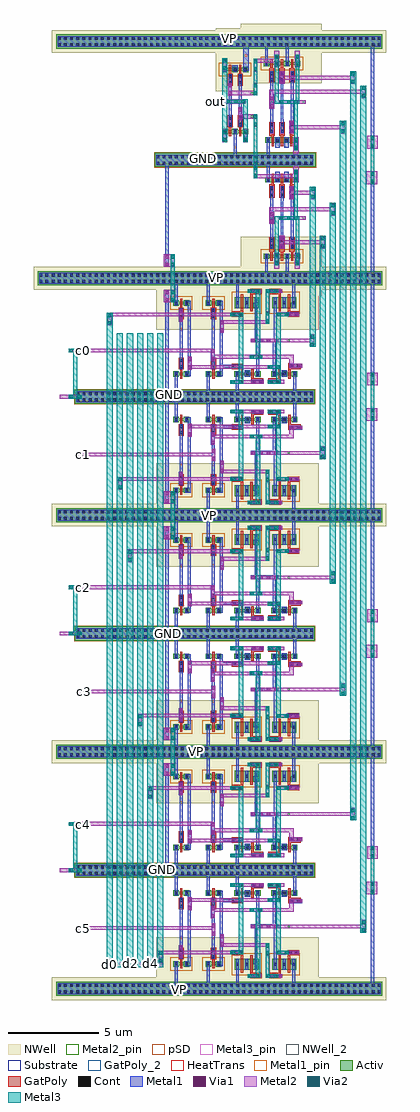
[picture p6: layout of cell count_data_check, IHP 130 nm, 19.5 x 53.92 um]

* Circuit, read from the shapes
.subckt count_data_check GND VP c0 c1 c2 c3 c4 c5 d0 d1 d2 d3 d4 d5 out
XM1 n1 d5 GND GND sg13_lv_nmos w=0.15u l=0.13u
XM2 n2 d4 GND GND sg13_lv_nmos w=0.15u l=0.13u
XM3 n3 d3 GND GND sg13_lv_nmos w=0.15u l=0.13u
XM4 n4 d2 GND GND sg13_lv_nmos w=0.15u l=0.13u
XM5 n5 d1 GND GND sg13_lv_nmos w=0.15u l=0.13u
XM6 n6 d0 GND GND sg13_lv_nmos w=0.15u l=0.13u
XM7 n7 c5 GND GND sg13_lv_nmos w=0.15u l=0.13u
XM8 n8 c4 GND GND sg13_lv_nmos w=0.15u l=0.13u
XM9 n9 c3 GND GND sg13_lv_nmos w=0.15u l=0.13u
XM10 n10 c2 GND GND sg13_lv_nmos w=0.15u l=0.13u
XM11 n11 c1 GND GND sg13_lv_nmos w=0.15u l=0.13u
XM12 n12 c0 GND GND sg13_lv_nmos w=0.15u l=0.13u
XM13 GND NOR_2in_72/B out GND sg13_lv_nmos w=0.15u l=0.13u
XM14 out NOR_2in_72/A GND GND sg13_lv_nmos w=0.15u l=0.13u
XM15 n13 n7 GND GND sg13_lv_nmos w=0.15u l=0.13u
XM16 n14 n8 GND GND sg13_lv_nmos w=0.15u l=0.13u
XM17 n15 n9 GND GND sg13_lv_nmos w=0.15u l=0.13u
XM18 n16 n10 GND GND sg13_lv_nmos w=0.15u l=0.13u
XM19 n17 n11 GND GND sg13_lv_nmos w=0.15u l=0.13u
XM20 n18 n12 GND GND sg13_lv_nmos w=0.15u l=0.13u
XM21 XNOR_9/y d5 n13 GND sg13_lv_nmos w=0.15u l=0.13u
XM22 XNOR_27/y d4 n14 GND sg13_lv_nmos w=0.15u l=0.13u
XM23 XNOR_7/y d3 n15 GND sg13_lv_nmos w=0.15u l=0.13u
XM24 XNOR_8/y d2 n16 GND sg13_lv_nmos w=0.15u l=0.13u
XM25 XNOR_24/y d1 n17 GND sg13_lv_nmos w=0.15u l=0.13u
XM26 XNOR_25/y d0 n18 GND sg13_lv_nmos w=0.15u l=0.13u
XM27 n19 XNOR_8/y GND GND sg13_lv_nmos w=0.3u l=0.13u
XM28 n20 XNOR_9/y GND GND sg13_lv_nmos w=0.3u l=0.13u
XM29 n21 n1 XNOR_9/y GND sg13_lv_nmos w=0.15u l=0.13u
XM30 n22 n2 XNOR_27/y GND sg13_lv_nmos w=0.15u l=0.13u
XM31 n23 n3 XNOR_7/y GND sg13_lv_nmos w=0.15u l=0.13u
XM32 n24 n4 XNOR_8/y GND sg13_lv_nmos w=0.15u l=0.13u
XM33 n25 n5 XNOR_24/y GND sg13_lv_nmos w=0.15u l=0.13u
XM34 n26 n6 XNOR_25/y GND sg13_lv_nmos w=0.15u l=0.13u
XM35 n27 XNOR_24/y n19 GND sg13_lv_nmos w=0.3u l=0.13u
XM36 n28 XNOR_27/y n20 GND sg13_lv_nmos w=0.3u l=0.13u
XM37 GND c5 n21 GND sg13_lv_nmos w=0.15u l=0.13u
XM38 GND c4 n22 GND sg13_lv_nmos w=0.15u l=0.13u
XM39 GND c3 n23 GND sg13_lv_nmos w=0.15u l=0.13u
XM40 GND c2 n24 GND sg13_lv_nmos w=0.15u l=0.13u
XM41 GND c1 n25 GND sg13_lv_nmos w=0.15u l=0.13u
XM42 GND c0 n26 GND sg13_lv_nmos w=0.15u l=0.13u
XM43 NOR_2in_72/A XNOR_25/y n27 GND sg13_lv_nmos w=0.3u l=0.13u
XM44 NOR_2in_72/B XNOR_7/y n28 GND sg13_lv_nmos w=0.3u l=0.13u
XM45 n1 d5 VP VP sg13_lv_pmos w=0.15u l=0.13u
XM46 n2 d4 VP VP sg13_lv_pmos w=0.15u l=0.13u
XM47 n3 d3 VP VP sg13_lv_pmos w=0.15u l=0.13u
XM48 n4 d2 VP VP sg13_lv_pmos w=0.15u l=0.13u
XM49 n5 d1 VP VP sg13_lv_pmos w=0.15u l=0.13u
XM50 n6 d0 VP VP sg13_lv_pmos w=0.15u l=0.13u
XM51 n7 c5 VP VP sg13_lv_pmos w=0.15u l=0.13u
XM52 n8 c4 VP VP sg13_lv_pmos w=0.15u l=0.13u
XM53 n9 c3 VP VP sg13_lv_pmos w=0.15u l=0.13u
XM54 n10 c2 VP VP sg13_lv_pmos w=0.15u l=0.13u
XM55 n11 c1 VP VP sg13_lv_pmos w=0.15u l=0.13u
XM56 n12 c0 VP VP sg13_lv_pmos w=0.15u l=0.13u
XM57 n29 NOR_2in_72/B out VP sg13_lv_pmos w=0.15u l=0.13u
XM58 VP NOR_2in_72/A n29 VP sg13_lv_pmos w=0.15u l=0.13u
XM59 n30 d5 VP VP sg13_lv_pmos w=0.6u l=0.13u
XM60 n31 d4 VP VP sg13_lv_pmos w=0.6u l=0.13u
XM61 n32 d3 VP VP sg13_lv_pmos w=0.6u l=0.13u
XM62 n33 d2 VP VP sg13_lv_pmos w=0.6u l=0.13u
XM63 n34 d1 VP VP sg13_lv_pmos w=0.6u l=0.13u
XM64 n35 d0 VP VP sg13_lv_pmos w=0.6u l=0.13u
XM65 XNOR_9/y c5 n30 VP sg13_lv_pmos w=0.6u l=0.13u
XM66 XNOR_27/y c4 n31 VP sg13_lv_pmos w=0.6u l=0.13u
XM67 XNOR_7/y c3 n32 VP sg13_lv_pmos w=0.6u l=0.13u
XM68 XNOR_8/y c2 n33 VP sg13_lv_pmos w=0.6u l=0.13u
XM69 XNOR_24/y c1 n34 VP sg13_lv_pmos w=0.6u l=0.13u
XM70 XNOR_25/y c0 n35 VP sg13_lv_pmos w=0.6u l=0.13u
XM71 NOR_2in_72/A XNOR_8/y VP VP sg13_lv_pmos w=0.15u l=0.13u
XM72 NOR_2in_72/B XNOR_9/y VP VP sg13_lv_pmos w=0.15u l=0.13u
XM73 n36 n7 XNOR_9/y VP sg13_lv_pmos w=0.6u l=0.13u
XM74 n37 n8 XNOR_27/y VP sg13_lv_pmos w=0.6u l=0.13u
XM75 n38 n9 XNOR_7/y VP sg13_lv_pmos w=0.6u l=0.13u
XM76 n39 n10 XNOR_8/y VP sg13_lv_pmos w=0.6u l=0.13u
XM77 n40 n11 XNOR_24/y VP sg13_lv_pmos w=0.6u l=0.13u
XM78 n41 n12 XNOR_25/y VP sg13_lv_pmos w=0.6u l=0.13u
XM79 VP XNOR_24/y NOR_2in_72/A VP sg13_lv_pmos w=0.15u l=0.13u
XM80 VP XNOR_27/y NOR_2in_72/B VP sg13_lv_pmos w=0.15u l=0.13u
XM81 VP n1 n36 VP sg13_lv_pmos w=0.6u l=0.13u
XM82 VP n2 n37 VP sg13_lv_pmos w=0.6u l=0.13u
XM83 VP n3 n38 VP sg13_lv_pmos w=0.6u l=0.13u
XM84 VP n4 n39 VP sg13_lv_pmos w=0.6u l=0.13u
XM85 VP n5 n40 VP sg13_lv_pmos w=0.6u l=0.13u
XM86 VP n6 n41 VP sg13_lv_pmos w=0.6u l=0.13u
XM87 NOR_2in_72/A XNOR_25/y VP VP sg13_lv_pmos w=0.15u l=0.13u
XM88 NOR_2in_72/B XNOR_7/y VP VP sg13_lv_pmos w=0.15u l=0.13u
.ends

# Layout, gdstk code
from math import pi, radians
import gdstk
lib = gdstk.Library(unit=1e-6, precision=1e-09)
def R(c, l, rs):  # rectangles x0, y0, x1, y1
    for r in rs: c.add(gdstk.rectangle(r[:2], r[2:], *l))
def A(c, l, x, y, w, h, nx, ny, dx, dy):  # array of equal rectangles
    R(c, l, [(x+i*dx, y+j*dy, x+i*dx+w, y+j*dy+h) for i in range(nx) for j in range(ny)])
def P(c, l, *ps):  # polygons
    for p in ps: c.add(gdstk.Polygon(p, *l))
Activ = (1, 0)
GatPoly = (5, 0)
GatPoly_2 = (5, 2)
Cont = (6, 0)
Metal1 = (8, 0)
Metal1_pin = (8, 2)
Metal2 = (10, 0)
Metal2_pin = (10, 2)
pSD = (14, 0)
Via1 = (19, 0)
Via2 = (29, 0)
Metal3 = (30, 0)
Metal3_pin = (30, 2)
NWell = (31, 0)
NWell_2 = (31, 2)
Substrate = (40, 0)
HeatTrans = (51, 0)

via_4_7_1 = lib.new_cell('Via$4$7$1')
R(via_4_7_1, Metal1, [(-0.105,-0.35,0.105,0.35)])
R(via_4_7_1, Metal2, [(-0.1,-0.35,0.1,0.35)])
R(via_4_7_1, Via1, [(-0.095,-0.3,0.095,-0.11), (-0.095,0.11,0.095,0.3)])

via_7_5_1 = lib.new_cell('Via$7$5$1')
R(via_7_5_1, Metal2, [(-0.1,-0.555,0.1,0.555)])
A(via_7_5_1, Via2, -0.095, -0.505, 0.19, 0.19, 1, 3, 0, 0.41)
R(via_7_5_1, Metal3, [(-0.1,-0.555,0.1,0.555)])

nmos_4_3_1 = lib.new_cell('nmos$4$3$1')
A(nmos_4_3_1, Activ, 0, 0, 0.3, 0.3, 4, 1, 0.51, 0)
R(nmos_4_3_1, Activ, [(0,0,1.83,0.3)])
A(nmos_4_3_1, GatPoly, 0.34, -0.18, 0.13, 0.66, 3, 1, 0.51, 0)
R(nmos_4_3_1, GatPoly_2, [(0.34,-0.18,0.47,0.48)])
A(nmos_4_3_1, Cont, 0.07, 0.07, 0.16, 0.16, 4, 1, 0.51, 0)
A(nmos_4_3_1, Metal1, 0.07, 0, 0.16, 0.3, 4, 1, 0.51, 0)
R(nmos_4_3_1, Metal1_pin, [(0.07,0,0.23,0.3), (0.58,0,0.74,0.3)])
A(nmos_4_3_1, HeatTrans, 0.34, -0.18, 0.13, 0.66, 3, 1, 0.51, 0)
nmos_4_3_1.add(gdstk.Label('nmos', (0.405,0.15), layer=63, texttype=0))
nmos_4_3_1.add(gdstk.Label('nmos', (0.405,0.15), layer=51, texttype=0))
nmos_4_3_1.add(gdstk.Label('nmos', (0.915,0.15), layer=51, texttype=0))
nmos_4_3_1.add(gdstk.Label('nmos', (1.425,0.15), layer=51, texttype=0))

ntap1_1_1_1 = lib.new_cell('ntap1$1$1$1')
R(ntap1_1_1_1, Activ, [(0,0,3.5,0.78)])
A(ntap1_1_1_1, Cont, 0.14, 0.14, 0.16, 0.16, 10, 2, 0.34, 0.34)
R(ntap1_1_1_1, Metal1, [(0.14,0.09,3.36,0.69)])
R(ntap1_1_1_1, Metal1_pin, [(0.14,0.09,3.36,0.69), (0.14,0.14,3.36,0.64)])
R(ntap1_1_1_1, NWell, [(-0.24,-0.24,3.74,1.02), (0,0,3.5,0.78)])
R(ntap1_1_1_1, NWell_2, [(0,0,3.5,0.78)])
ntap1_1_1_1.add(gdstk.Label('well', (1.75,0.01), layer=63, texttype=0))
ntap1_1_1_1.add(gdstk.Label('well', (1.75,0.01), layer=31, texttype=0))

ptap1_3_5_1 = lib.new_cell('ptap1$3$5$1')
R(ptap1_3_5_1, Activ, [(0,0,3.5,0.78)])
A(ptap1_3_5_1, Cont, 0.14, 0.14, 0.16, 0.16, 10, 2, 0.34, 0.34)
R(ptap1_3_5_1, Metal1, [(0.14,0.09,3.36,0.69), (0.14,0.14,3.36,0.64)])
R(ptap1_3_5_1, Metal1_pin, [(0.14,0.14,3.36,0.64)])
R(ptap1_3_5_1, pSD, [(-0.03,-0.03,3.53,0.81)])
R(ptap1_3_5_1, Substrate, [(0,0,3.5,0.78)])
ptap1_3_5_1.add(gdstk.Label('sub!', (1.75,0.01), layer=63, texttype=0))
ptap1_3_5_1.add(gdstk.Label('sub!', (1.75,0.01), layer=40, texttype=0))

via_5_7_1 = lib.new_cell('Via$5$7$1')
R(via_5_7_1, Metal2, [(-0.1,-0.35,0.1,0.35)])
R(via_5_7_1, Via2, [(-0.095,-0.3,0.095,-0.11), (-0.095,0.11,0.095,0.3)])
R(via_5_7_1, Metal3, [(-0.1,-0.35,0.1,0.35)])

via_6_5_1 = lib.new_cell('Via$6$5$1')
R(via_6_5_1, GatPoly, [(-0.32,-0.15,0.32,0.15)])
R(via_6_5_1, Cont, [(-0.25,-0.08,-0.09,0.08), (0.09,-0.08,0.25,0.08)])
R(via_6_5_1, Metal1, [(-0.3,-0.08,0.3,0.08)])

pmos_1_5_1 = lib.new_cell('pmos$1$5$1')
A(pmos_1_5_1, Activ, 0, 0, 0.3, 0.3, 4, 1, 0.57, 0)
R(pmos_1_5_1, Activ, [(0,0.075,2.01,0.225)])
A(pmos_1_5_1, GatPoly, 0.37, -0.105, 0.13, 0.51, 3, 1, 0.57, 0)
A(pmos_1_5_1, Cont, 0.07, 0.07, 0.16, 0.16, 4, 1, 0.57, 0)
A(pmos_1_5_1, Metal1, 0.07, 0.02, 0.16, 0.26, 4, 1, 0.57, 0)
R(pmos_1_5_1, pSD, [(-0.18,-0.225,2.19,0.525)])
R(pmos_1_5_1, NWell, [(-0.31,-0.31,2.32,0.61)])
R(pmos_1_5_1, Substrate, [(1.71,0,2.01,0.3)])
A(pmos_1_5_1, HeatTrans, 0.37, -0.105, 0.13, 0.51, 3, 1, 0.57, 0)
pmos_1_5_1.add(gdstk.Label('pmos', (0.435,0.15), layer=63, texttype=0))
pmos_1_5_1.add(gdstk.Label('pmos', (0.435,0.15), layer=51, texttype=0))
pmos_1_5_1.add(gdstk.Label('pmos', (1.005,0.15), layer=51, texttype=0))
pmos_1_5_1.add(gdstk.Label('pmos', (1.575,0.15), layer=51, texttype=0))

nand_3in_nmosx3_5_1 = lib.new_cell('NAND_3in_nmosx3$5$1')
R(nand_3in_nmosx3_5_1, GatPoly, [(0.115,-3.025,0.245,-2.915), (0.685,-3.025,0.815,-2.915), (0.035,-3.005,0.335,-2.895), (0.605,-3.005,0.905,-2.895), (1.165,-3.005,1.465,-2.895), (0.03,0.58,0.33,0.73), (0.6,0.58,0.9,0.73), (1.16,0.58,1.46,0.73), (0.68,0.68,0.81,0.77), (1.25,0.68,1.38,0.77)])
R(nand_3in_nmosx3_5_1, Metal1, [(-0.095,-4.15,0.065,-3.37), (0.375,-3.675,0.615,-3.415), (0.885,-3.675,1.125,-3.415), (0.375,-3.435,0.615,-3.095), (0.885,-3.435,1.125,-3.095), (0.67,-2.44,0.835,-2.09), (0.1,-2.42,0.265,-1.91), (0.67,-2.21,0.83,-1.27), (1.23,-2.21,1.39,-1.27), (0.1,-1.91,0.26,-0.56), (0.67,-1.31,0.83,-0.37), (1.23,-1.31,1.39,-0.37), (0.1,-0.62,0.26,-0.04), (1.23,-0.53,1.39,0), (0.67,-0.37,0.83,-0.11), (0.95,1,1.11,1.2), (-0.19,1.01,-0.03,1.15), (-0.19,1.115,-0.03,1.99), (0.95,1.115,1.11,1.94)])
R(nand_3in_nmosx3_5_1, Metal1_pin, [(0.44,-4.405,0.57,-4.275), (0.74,2.15,0.87,2.28)])
R(nand_3in_nmosx3_5_1, Metal2, [(1.375,-3.995,1.665,-3.795), (1.375,-3.795,1.665,-3.095), (1.155,-2.875,1.455,-2.175), (0.03,-1.51,0.33,-0.81), (1.62,-1.24,2.05,-1.04), (0.59,-0.14,0.89,0.56), (0.31,0.78,0.6,0.98), (1.45,0.78,1.74,0.98), (0.31,0.98,0.6,1.68), (1.45,0.98,1.74,1.68)])
R(nand_3in_nmosx3_5_1, Metal2_pin, [(1.255,-2.385,1.385,-2.255), (0.11,-1.215,0.24,-1.085), (1.905,-1.205,2.035,-1.075), (0.69,-0.07,0.82,0.06)])
R(nand_3in_nmosx3_5_1, Metal3, [(1.425,-3.105,1.625,-2.905), (1.425,-2.905,1.625,-2.5), (1.425,-2.5,1.625,-1.15), (0.36,-1.24,0.56,-0.97), (0.38,-1.24,0.565,-1.04), (1.66,-1.24,1.7,-1.09), (1.5,-1.09,1.7,0.17), (0.36,-0.97,0.56,0.26), (1.5,-0.03,1.7,0.62), (0.36,0.08,0.56,0.78), (1.5,0.62,1.7,0.72), (1.5,0.71,1.7,0.87)])
R(nand_3in_nmosx3_5_1, NWell, [(-1.52,-0.1,-0.85,3.17), (-0.85,-0.1,2.93,3.17)])
nand_3in_nmosx3_5_1.add(gdstk.Reference(via_4_7_1, (1.525,-3.445), rotation=pi))
nand_3in_nmosx3_5_1.add(gdstk.Reference(via_4_7_1, (1.315,-2.525), rotation=pi))
nand_3in_nmosx3_5_1.add(gdstk.Reference(via_4_7_1, (0.18,-1.16), rotation=pi))
nand_3in_nmosx3_5_1.add(gdstk.Reference(via_4_7_1, (0.75,0.21), rotation=pi))
nand_3in_nmosx3_5_1.add(gdstk.Reference(via_4_7_1, (0.46,1.13), rotation=pi))
nand_3in_nmosx3_5_1.add(gdstk.Reference(via_4_7_1, (1.6,1.13), rotation=pi))
nand_3in_nmosx3_5_1.add(gdstk.Reference(via_7_5_1, (1.12,-1.14), rotation=3*pi/2))
nand_3in_nmosx3_5_1.add(gdstk.Reference(nmos_4_3_1, (1.665,-3.095), rotation=pi))
nand_3in_nmosx3_5_1.add(gdstk.Reference(ntap1_1_1_1, (-0.9,1.81)))
nand_3in_nmosx3_5_1.add(gdstk.Reference(ptap1_3_5_1, (-0.89,-4.73)))
nand_3in_nmosx3_5_1.add(gdstk.Reference(via_5_7_1, (1.525,-3.445), rotation=pi))
nand_3in_nmosx3_5_1.add(gdstk.Reference(via_5_7_1, (0.46,1.13), rotation=pi))
nand_3in_nmosx3_5_1.add(gdstk.Reference(via_5_7_1, (1.6,1.13), rotation=pi))
nand_3in_nmosx3_5_1.add(gdstk.Reference(via_6_5_1, (0.185,-2.575), rotation=3*pi/2))
nand_3in_nmosx3_5_1.add(gdstk.Reference(via_6_5_1, (0.755,-2.575), rotation=3*pi/2))
nand_3in_nmosx3_5_1.add(gdstk.Reference(via_6_5_1, (1.315,-2.575), rotation=3*pi/2))
nand_3in_nmosx3_5_1.add(gdstk.Reference(via_6_5_1, (0.18,0.26), rotation=3*pi/2))
nand_3in_nmosx3_5_1.add(gdstk.Reference(via_6_5_1, (0.75,0.26), rotation=3*pi/2))
nand_3in_nmosx3_5_1.add(gdstk.Reference(via_6_5_1, (1.31,0.26), rotation=3*pi/2))
nand_3in_nmosx3_5_1.add(gdstk.Reference(pmos_1_5_1, (1.75,1.13), rotation=pi))
nand_3in_nmosx3_5_1.add(gdstk.Label('VP', (0.8,2.21), layer=8, texttype=25))
nand_3in_nmosx3_5_1.add(gdstk.Label('GND', (0.505,-4.335), layer=8, texttype=25))
nand_3in_nmosx3_5_1.add(gdstk.Label('y', (1.97,-1.14), layer=10, texttype=25))
nand_3in_nmosx3_5_1.add(gdstk.Label('b', (0.76,0.02), layer=10, texttype=25))
nand_3in_nmosx3_5_1.add(gdstk.Label('c', (0.17,-1.15), layer=10, texttype=25))
nand_3in_nmosx3_5_1.add(gdstk.Label('a', (1.315,-2.325), layer=10, texttype=25))

nand_3in_1 = lib.new_cell('NAND_3in$1')
nand_3in_1.add(gdstk.Reference(nand_3in_nmosx3_5_1, (0.25,42.24)))

ntap1_12 = lib.new_cell('ntap1$12')
R(ntap1_12, Activ, [(0,0,7.8,0.78)])
A(ntap1_12, Cont, 0.08, 0.14, 0.16, 0.16, 23, 2, 0.34, 0.34)
R(ntap1_12, Metal1, [(0.08,0.09,7.72,0.69)])
R(ntap1_12, Metal1_pin, [(0.08,0.09,7.72,0.69), (0.08,0.14,7.72,0.64)])
R(ntap1_12, NWell, [(-0.24,-0.24,8.04,1.02), (0,0,7.8,0.78)])
R(ntap1_12, NWell_2, [(0,0,7.8,0.78)])
ntap1_12.add(gdstk.Label('well', (3.9,0.01), layer=63, texttype=0))
ntap1_12.add(gdstk.Label('well', (3.9,0.01), layer=31, texttype=0))

via_17 = lib.new_cell('Via$17')
R(via_17, Metal2, [(-0.35,-0.1,0.35,0.1)])
R(via_17, Via2, [(-0.3,-0.095,-0.11,0.095), (0.11,-0.095,0.3,0.095)])
R(via_17, Metal3, [(-0.35,-0.1,0.35,0.1)])

pmos_5 = lib.new_cell('pmos$5')
R(pmos_5, Activ, [(0,0,0.3,0.3), (0.57,0,0.87,0.3), (0,0.075,0.87,0.225)])
R(pmos_5, GatPoly, [(0.37,-0.105,0.5,0.405), (0.37,-0.105,0.5,0.405)])
R(pmos_5, Cont, [(0.07,0.07,0.23,0.23), (0.64,0.07,0.8,0.23)])
R(pmos_5, Metal1, [(0.07,0.02,0.23,0.28), (0.07,0.02,0.23,0.28), (0.64,0.02,0.8,0.28), (0.64,0.02,0.8,0.28)])
R(pmos_5, pSD, [(-0.18,-0.225,1.05,0.525)])
R(pmos_5, NWell, [(-0.31,-0.31,1.18,0.61)])
R(pmos_5, Substrate, [(0.57,0,0.87,0.3)])
R(pmos_5, HeatTrans, [(0.37,-0.105,0.5,0.405)])
pmos_5.add(gdstk.Label('pmos', (0.435,0.15), layer=63, texttype=0))
pmos_5.add(gdstk.Label('pmos', (0.435,0.15), layer=51, texttype=0))

pmos_3_3 = lib.new_cell('pmos$3$3')
A(pmos_3_3, Activ, 0, 0, 0.3, 0.3, 3, 1, 0.51, 0)
R(pmos_3_3, Activ, [(0,0,1.32,0.6)])
R(pmos_3_3, GatPoly, [(0.34,-0.18,0.47,0.78), (0.34,-0.18,0.47,0.78), (0.85,-0.18,0.98,0.78)])
A(pmos_3_3, Cont, 0.07, 0.22, 0.16, 0.16, 3, 1, 0.51, 0)
R(pmos_3_3, Metal1, [(0.07,0,0.23,0.6), (0.07,0,0.23,0.6), (0.58,0,0.74,0.6), (0.58,0,0.74,0.6), (1.09,0,1.25,0.6)])
R(pmos_3_3, pSD, [(-0.18,-0.3,1.5,0.9)])
R(pmos_3_3, NWell, [(-0.31,-0.31,1.63,0.91)])
R(pmos_3_3, Substrate, [(1.02,0,1.32,0.3)])
R(pmos_3_3, HeatTrans, [(0.34,-0.18,0.47,0.78), (0.85,-0.18,0.98,0.78)])
pmos_3_3.add(gdstk.Label('pmos', (0.405,0.3), layer=63, texttype=0))
pmos_3_3.add(gdstk.Label('pmos', (0.405,0.3), layer=51, texttype=0))
pmos_3_3.add(gdstk.Label('pmos', (0.915,0.3), layer=51, texttype=0))

nmos_9 = lib.new_cell('nmos$9')
R(nmos_9, Activ, [(0,0,0.3,0.3), (0.57,0,0.87,0.3), (0,0.075,0.87,0.225)])
R(nmos_9, GatPoly, [(0.37,-0.105,0.5,0.405)])
R(nmos_9, GatPoly_2, [(0.37,-0.105,0.5,0.405)])
R(nmos_9, Cont, [(0.07,0.07,0.23,0.23), (0.64,0.07,0.8,0.23)])
R(nmos_9, Metal1, [(0.07,0.02,0.23,0.28), (0.64,0.02,0.8,0.28)])
R(nmos_9, Metal1_pin, [(0.07,0.02,0.23,0.28), (0.64,0.02,0.8,0.28)])
R(nmos_9, HeatTrans, [(0.37,-0.105,0.5,0.405)])
nmos_9.add(gdstk.Label('nmos', (0.435,0.15), layer=63, texttype=0))
nmos_9.add(gdstk.Label('nmos', (0.435,0.15), layer=51, texttype=0))

nmos_5 = lib.new_cell('nmos$5')
A(nmos_5, Activ, 0, 0, 0.3, 0.3, 3, 1, 0.57, 0)
R(nmos_5, Activ, [(0,0.075,1.44,0.225)])
R(nmos_5, GatPoly, [(0.37,-0.105,0.5,0.405), (0.94,-0.105,1.07,0.405)])
R(nmos_5, GatPoly_2, [(0.37,-0.105,0.5,0.405)])
A(nmos_5, Cont, 0.07, 0.07, 0.16, 0.16, 3, 1, 0.57, 0)
A(nmos_5, Metal1, 0.07, 0.02, 0.16, 0.26, 3, 1, 0.57, 0)
R(nmos_5, Metal1_pin, [(0.07,0.02,0.23,0.28), (0.64,0.02,0.8,0.28)])
R(nmos_5, HeatTrans, [(0.37,-0.105,0.5,0.405), (0.94,-0.105,1.07,0.405)])
nmos_5.add(gdstk.Label('nmos', (0.435,0.15), layer=63, texttype=0))
nmos_5.add(gdstk.Label('nmos', (0.435,0.15), layer=51, texttype=0))
nmos_5.add(gdstk.Label('nmos', (1.005,0.15), layer=51, texttype=0))

via_6_2 = lib.new_cell('Via$6$2')
R(via_6_2, GatPoly, [(-0.15,-0.32,0.15,0.32)])
R(via_6_2, Cont, [(-0.08,-0.25,0.08,-0.09), (-0.08,0.09,0.08,0.25)])
R(via_6_2, Metal1, [(-0.08,-0.3,0.08,0.3)])

via_7 = lib.new_cell('Via$7')
R(via_7, Metal1, [(-0.76,-0.105,0.76,0.105)])
R(via_7, Metal2, [(-0.76,-0.1,0.76,0.1)])
A(via_7, Via1, -0.71, -0.095, 0.19, 0.19, 4, 1, 0.41, 0)

via_9_3 = lib.new_cell('Via$9$3')
R(via_9_3, Metal1, [(-0.35,-0.105,0.35,0.105)])
R(via_9_3, Metal2, [(-0.35,-0.1,0.35,0.1)])
R(via_9_3, Via1, [(-0.3,-0.095,-0.11,0.095), (0.11,-0.095,0.3,0.095)])

via_18 = lib.new_cell('Via$18')
R(via_18, Metal2, [(-0.35,-0.1,0.35,0.1)])
R(via_18, Via2, [(-0.3,-0.095,-0.11,0.095), (0.11,-0.095,0.3,0.095)])
R(via_18, Metal3, [(-0.35,-0.1,0.35,0.1)])

ptap1_1 = lib.new_cell('ptap1$1')
R(ptap1_1, Activ, [(0,0,8.5,0.78)])
A(ptap1_1, Cont, 0.09, 0.14, 0.16, 0.16, 25, 2, 0.34, 0.34)
R(ptap1_1, Metal1, [(0.09,0.09,8.41,0.69), (0.09,0.14,8.41,0.64)])
R(ptap1_1, Metal1_pin, [(0.09,0.14,8.41,0.64)])
R(ptap1_1, pSD, [(-0.03,-0.03,8.53,0.81)])
R(ptap1_1, Substrate, [(0,0,8.5,0.78)])
ptap1_1.add(gdstk.Label('sub!', (4.25,0.01), layer=63, texttype=0))
ptap1_1.add(gdstk.Label('sub!', (4.25,0.01), layer=40, texttype=0))

ntap1_2_3 = lib.new_cell('ntap1$2$3')
R(ntap1_2_3, Activ, [(0,0,8.5,0.78)])
A(ntap1_2_3, Cont, 0.09, 0.14, 0.16, 0.16, 25, 2, 0.34, 0.34)
R(ntap1_2_3, Metal1, [(0.09,0.09,8.41,0.69)])
R(ntap1_2_3, Metal1_pin, [(0.09,0.09,8.41,0.69), (0.09,0.14,8.41,0.64)])
R(ntap1_2_3, NWell, [(-0.24,-0.24,8.74,1.02), (0,0,8.5,0.78)])
R(ntap1_2_3, NWell_2, [(0,0,8.5,0.78)])
ntap1_2_3.add(gdstk.Label('well', (4.25,0.01), layer=63, texttype=0))
ntap1_2_3.add(gdstk.Label('well', (4.25,0.01), layer=31, texttype=0))

xnor = lib.new_cell('XNOR')
R(xnor, GatPoly, [(5.14,-5.055,5.24,-4.76), (6.64,-5.055,6.74,-4.76), (7.18,-4.34,7.31,-4.24), (4.57,-4.275,4.7,-4.175), (7.18,-4.25,7.31,-3.935), (4.68,-4.24,4.7,-3.94)])
R(xnor, Metal1, [(2.68,-5.94,2.84,-4.95), (7.45,-5.94,7.61,-4.98), (0.9,-5.86,1.06,-5.03), (4.27,-5.77,4.43,-4.955), (4.27,-5.275,4.43,-4.635), (0.9,-5.155,1.06,-4.575), (2.68,-5.155,2.84,-4.575), (7.45,-5.145,7.61,-4.635), (4.78,-4.665,5.01,-4.615), (5.01,-4.665,5.06,-4.305), (6.82,-4.665,7.05,-4.615), (7.05,-4.665,7.1,-4.305), (1.63,-4.635,1.78,-4.375), (3.41,-4.635,3.56,-4.375), (4.78,-4.615,5.01,-4.355), (6.82,-4.615,7.05,-4.355), (5.41,-4.46,5.57,-4.32), (6.31,-4.44,6.47,-4.25), (1.62,-4.385,1.78,-2.985), (3.4,-4.385,3.56,-2.985), (5.41,-4.375,5.57,-3.715), (6.31,-4.375,6.47,-3.715), (4.78,-4.355,5.01,-4.305), (6.82,-4.355,7.05,-4.305), (3.4,-4.17,4.06,-4.01), (1.18,-3.825,1.34,-2.425), (2.96,-3.825,3.12,-2.425), (5.41,-3.795,5.57,-3.135), (6.31,-3.795,6.47,-3.135), (6.31,-3.725,6.47,-3.065), (5.41,-3.715,5.57,-3.055), (1.62,-3.38,1.78,-1.78), (5.41,-3.3,5.57,-2.67), (3.4,-3.24,3.56,-1.48), (6.31,-3.24,6.47,-2.67), (5.31,-2.775,5.47,-2.09), (6.37,-2.67,6.53,-2.05), (2.96,-2.55,3.12,-1.53), (1.18,-2.51,1.34,-1.5), (5.31,-2.09,5.47,-1.09), (6.37,-2.09,6.53,-1.09), (1.62,-2.04,1.78,-0.64), (3.4,-2.04,3.56,-0.64), (1.62,-1.86,1.78,-0.46), (3.4,-1.86,3.56,-0.46), (1.18,-1.56,1.34,-1.44), (2.96,-1.56,3.12,-1.44), (6.37,-1.33,6.53,-0.87), (5.31,-1.31,5.47,-0.87), (0.9,-0.57,1.06,-0.38), (2.68,-0.55,2.84,-0.38), (0.9,-0.46,1.06,0.39), (2.68,-0.46,2.84,0.39), (4.29,-0.37,4.45,-0.25), (7.39,-0.37,7.55,-0.23), (4.29,-0.27,4.45,0.49), (7.39,-0.27,7.55,0.51), (2.68,0.27,2.84,0.79), (0.9,0.39,1.06,0.75)])
P(xnor, Metal1, [(0.9,-0.4),(0.9,-0.4),(0.9,-0.4),(0.9,-0.4)])
R(xnor, Metal1_pin, [(4.265,-5.825,4.395,-5.695), (1.195,-2.1,1.325,-1.97), (2.975,-2.08,3.105,-1.95), (4.205,0.695,4.335,0.825)])
R(xnor, Metal2, [(4.68,-5.05,5.4,-4.85), (6.05,-5.045,6.81,-4.845), (6.64,-5.045,6.96,-4.845), (1.64,-4.225,4.15,-4.025), (3.97,-4.225,6.48,-4.025), (7.24,-4.05,7.48,-3.95), (7.24,-3.955,7.48,-3.485), (2.91,-3.665,5.42,-3.465), (4.97,-3.665,7.48,-3.465), (6.32,-2.77,7.32,-2.57), (3.59,-1.74,6.1,-1.54), (1.23,-1.33,3.74,-1.13), (1.48,-1.33,3.99,-1.13), (6.605,-1.31,7.07,-1.11)])
R(xnor, Metal2_pin, [(7.135,-2.735,7.265,-2.605)])
R(xnor, Metal3, [(6.51,-5.04,6.75,-3.035), (4.44,-4.905,4.68,-2.225), (6.51,-4.22,6.75,-2.215), (5.39,-3.635,5.63,-0.955), (6.51,-2.31,6.75,-1.22), (4.44,-2.225,4.68,-1.33), (5.93,-1.11,6.13,-1.01), (5.93,-1.03,6.13,0.16), (5.39,-0.955,5.63,0.07)])
R(xnor, NWell, [(-0.11,-2.08,8.87,0.37), (0.18,-1.74,8.17,0.76)])
xnor.add(gdstk.Reference(pmos_5, (2.61,-0.75)))
xnor.add(gdstk.Reference(pmos_3_3, (6.3,-0.88)))
xnor.add(gdstk.Reference(nmos_9, (2.61,-4.66)))
xnor.add(gdstk.Reference(nmos_5, (4.2,-4.66)))
xnor.add(gdstk.Reference(nmos_5, (6.24,-4.66)))
xnor.add(gdstk.Reference(pmos_5, (0.83,-0.75)))
xnor.add(gdstk.Reference(pmos_3_3, (4.22,-0.88)))
xnor.add(gdstk.Reference(nmos_9, (0.83,-4.66)))
xnor.add(gdstk.Reference(via_6_2, (1.26,-3.94)))
xnor.add(gdstk.Reference(via_6_2, (1.26,-1.17)))
xnor.add(gdstk.Reference(via_6_2, (7.47,-1.21), rotation=pi/2))
xnor.add(gdstk.Reference(via_6_2, (5.39,0.05), rotation=pi/2))
xnor.add(gdstk.Reference(via_6_2, (6.45,0.05), rotation=pi/2))
xnor.add(gdstk.Reference(via_6_2, (5.48,-4.91), rotation=pi/2))
xnor.add(gdstk.Reference(via_6_2, (7.54,-4.09), rotation=pi/2))
xnor.add(gdstk.Reference(via_6_2, (4.36,-4.09), rotation=pi/2))
xnor.add(gdstk.Reference(via_6_2, (4.37,-1.21), rotation=pi/2))
xnor.add(gdstk.Reference(via_7, (5.87,-2.67)))
xnor.add(gdstk.Reference(via_6_2, (6.4,-4.91), rotation=pi/2))
xnor.add(gdstk.Reference(via_6_2, (3.04,-3.94)))
xnor.add(gdstk.Reference(via_6_2, (3.04,-1.17)))
xnor.add(gdstk.Reference(via_9_3, (1.24,-1.28), rotation=pi/2))
xnor.add(gdstk.Reference(via_9_3, (4.34,-1.23), rotation=pi))
xnor.add(gdstk.Reference(via_18, (4.33,-1.23)))
xnor.add(gdstk.Reference(via_18, (4.33,-4.95)))
xnor.add(gdstk.Reference(via_9_3, (5.48,-4.95)))
xnor.add(gdstk.Reference(via_9_3, (6.4,-4.95)))
xnor.add(gdstk.Reference(via_9_3, (1.73,-3.92), rotation=pi/2))
xnor.add(gdstk.Reference(via_18, (6.4,-4.95)))
xnor.add(gdstk.Reference(via_18, (6.4,-4.13)))
xnor.add(gdstk.Reference(via_9_3, (7.42,-1.22)))
xnor.add(gdstk.Reference(via_9_3, (3.01,-3.46), rotation=pi/2))
xnor.add(gdstk.Reference(via_9_3, (7.59,-4.06)))
xnor.add(gdstk.Reference(via_18, (5.39,-3.57)))
xnor.add(gdstk.Reference(via_18, (5.28,0.07)))
xnor.add(gdstk.Reference(via_18, (6.86,-1.22)))
xnor.add(gdstk.Reference(via_9_3, (3.51,-1.89), rotation=pi/2))
xnor.add(gdstk.Reference(via_18, (6.03,-1.39), rotation=pi/2))
xnor.add(gdstk.Reference(via_9_3, (5.34,0.07)))
xnor.add(gdstk.Reference(via_9_3, (6.5,0.07)))
xnor.add(gdstk.Reference(via_18, (6.28,0.07)))
xnor.add(gdstk.Reference(ptap1_1, (0.14,-6.16)))
xnor.add(gdstk.Reference(ntap1_2_3, (0.13,0.38)))
xnor.add(gdstk.Label('GND', (4.33,-5.76), layer=8, texttype=25))
xnor.add(gdstk.Label('VP', (4.27,0.76), layer=8, texttype=25))
xnor.add(gdstk.Label('a', (1.26,-2.03), layer=8, texttype=25))
xnor.add(gdstk.Label('b', (3.04,-2.01), layer=8, texttype=25))
xnor.add(gdstk.Label('y', (7.2,-2.67), layer=10, texttype=25))

via_16 = lib.new_cell('Via$16')
R(via_16, Metal1, [(-0.35,-0.105,0.35,0.105)])
R(via_16, Metal2, [(-0.35,-0.1,0.35,0.1)])
R(via_16, Via1, [(-0.3,-0.095,-0.11,0.095), (0.11,-0.095,0.3,0.095)])

ptap1_20 = lib.new_cell('ptap1$20')
R(ptap1_20, Activ, [(0,0,7.8,0.78)])
A(ptap1_20, Cont, 0.08, 0.14, 0.16, 0.16, 23, 2, 0.34, 0.34)
R(ptap1_20, Metal1, [(0.08,0.09,7.72,0.69), (0.08,0.14,7.72,0.64)])
R(ptap1_20, Metal1_pin, [(0.08,0.14,7.72,0.64)])
R(ptap1_20, pSD, [(-0.03,-0.03,7.83,0.81)])
R(ptap1_20, Substrate, [(0,0,7.8,0.78)])
ptap1_20.add(gdstk.Label('sub!', (3.9,0.01), layer=63, texttype=0))
ptap1_20.add(gdstk.Label('sub!', (3.9,0.01), layer=40, texttype=0))

via_36 = lib.new_cell('Via$36')
R(via_36, Metal2, [(-0.1,-0.35,0.1,0.35)])
R(via_36, Via2, [(-0.095,-0.3,0.095,-0.11), (-0.095,0.11,0.095,0.3)])
R(via_36, Metal3, [(-0.1,-0.35,0.1,0.35)])

via_22 = lib.new_cell('Via$22')
R(via_22, Metal1, [(-0.105,-0.35,0.105,0.35)])
R(via_22, Metal2, [(-0.1,-0.35,0.1,0.35)])
R(via_22, Via1, [(-0.095,-0.3,0.095,-0.11), (-0.095,0.11,0.095,0.3)])

via_1_8 = lib.new_cell('Via$1$8')
R(via_1_8, GatPoly, [(-0.15,-0.32,0.15,0.32)])
R(via_1_8, Cont, [(-0.08,-0.25,0.08,-0.09), (-0.08,0.09,0.08,0.25)])
R(via_1_8, Metal1, [(-0.08,-0.3,0.08,0.3)])

via_6_3 = lib.new_cell('Via$6$3')
R(via_6_3, Metal1, [(-0.105,-0.35,0.105,0.35)])
R(via_6_3, Metal2, [(-0.1,-0.35,0.1,0.35)])
R(via_6_3, Via1, [(-0.095,-0.3,0.095,-0.11), (-0.095,0.11,0.095,0.3)])

ptap1_22 = lib.new_cell('ptap1$22')
R(ptap1_22, Activ, [(0,0,1.6,0.78)])
A(ptap1_22, Cont, 0.21, 0.14, 0.16, 0.16, 4, 2, 0.34, 0.34)
R(ptap1_22, Metal1, [(0.21,0.09,1.39,0.69), (0.21,0.14,1.39,0.64)])
R(ptap1_22, Metal1_pin, [(0.21,0.14,1.39,0.64)])
R(ptap1_22, pSD, [(-0.03,-0.03,1.63,0.81)])
R(ptap1_22, Substrate, [(0,0,1.6,0.78)])
ptap1_22.add(gdstk.Label('sub!', (0.8,0.01), layer=63, texttype=0))
ptap1_22.add(gdstk.Label('sub!', (0.8,0.01), layer=40, texttype=0))

via_38 = lib.new_cell('Via$38')
R(via_38, Metal2, [(-0.1,-0.35,0.1,0.35)])
R(via_38, Via2, [(-0.095,-0.3,0.095,-0.11), (-0.095,0.11,0.095,0.3)])
R(via_38, Metal3, [(-0.1,-0.35,0.1,0.35)])

nmos_10 = lib.new_cell('nmos$10')
A(nmos_10, Activ, 0, 0, 0.3, 0.3, 3, 1, 0.57, 0)
R(nmos_10, Activ, [(0,0.075,1.44,0.225)])
R(nmos_10, GatPoly, [(0.37,-0.105,0.5,0.405), (0.94,-0.105,1.07,0.405)])
R(nmos_10, GatPoly_2, [(0.37,-0.105,0.5,0.405)])
A(nmos_10, Cont, 0.07, 0.07, 0.16, 0.16, 3, 1, 0.57, 0)
A(nmos_10, Metal1, 0.07, 0.02, 0.16, 0.26, 3, 1, 0.57, 0)
R(nmos_10, Metal1_pin, [(0.07,0.02,0.23,0.28), (0.64,0.02,0.8,0.28)])
R(nmos_10, HeatTrans, [(0.37,-0.105,0.5,0.405), (0.94,-0.105,1.07,0.405)])
nmos_10.add(gdstk.Label('nmos', (0.435,0.15), layer=63, texttype=0))
nmos_10.add(gdstk.Label('nmos', (0.435,0.15), layer=51, texttype=0))
nmos_10.add(gdstk.Label('nmos', (1.005,0.15), layer=51, texttype=0))

via_7_2 = lib.new_cell('Via$7$2')
R(via_7_2, Metal2, [(-0.555,-0.1,0.555,0.1)])
A(via_7_2, Via2, -0.505, -0.095, 0.19, 0.19, 3, 1, 0.41, 0)
R(via_7_2, Metal3, [(-0.555,-0.1,0.555,0.1)])

ntap1_8 = lib.new_cell('ntap1$8')
R(ntap1_8, Activ, [(0,0,1.6,0.78)])
A(ntap1_8, Cont, 0.21, 0.14, 0.16, 0.16, 4, 2, 0.34, 0.34)
R(ntap1_8, Metal1, [(0.21,0.09,1.39,0.69)])
R(ntap1_8, Metal1_pin, [(0.21,0.09,1.39,0.69), (0.21,0.14,1.39,0.64)])
R(ntap1_8, NWell, [(-0.24,-0.24,1.84,1.02), (0,0,1.6,0.78)])
R(ntap1_8, NWell_2, [(0,0,1.6,0.78)])
ntap1_8.add(gdstk.Label('well', (0.8,0.01), layer=63, texttype=0))
ntap1_8.add(gdstk.Label('well', (0.8,0.01), layer=31, texttype=0))

pmos_6 = lib.new_cell('pmos$6')
A(pmos_6, Activ, 0, 0, 0.3, 0.3, 3, 1, 0.57, 0)
R(pmos_6, Activ, [(0,0.075,1.44,0.225)])
R(pmos_6, GatPoly, [(0.37,-0.105,0.5,0.405), (0.37,-0.105,0.5,0.405), (0.94,-0.105,1.07,0.405)])
A(pmos_6, Cont, 0.07, 0.07, 0.16, 0.16, 3, 1, 0.57, 0)
R(pmos_6, Metal1, [(0.07,0.02,0.23,0.28), (0.07,0.02,0.23,0.28), (0.64,0.02,0.8,0.28), (0.64,0.02,0.8,0.28), (1.21,0.02,1.37,0.28)])
R(pmos_6, pSD, [(-0.18,-0.225,1.62,0.525)])
R(pmos_6, NWell, [(-0.31,-0.31,1.75,0.61)])
R(pmos_6, Substrate, [(1.14,0,1.44,0.3)])
R(pmos_6, HeatTrans, [(0.37,-0.105,0.5,0.405), (0.94,-0.105,1.07,0.405)])
pmos_6.add(gdstk.Label('pmos', (0.435,0.15), layer=63, texttype=0))
pmos_6.add(gdstk.Label('pmos', (0.435,0.15), layer=51, texttype=0))
pmos_6.add(gdstk.Label('pmos', (1.005,0.15), layer=51, texttype=0))

nor_2in = lib.new_cell('NOR_2in')
R(nor_2in, Metal1, [(3.82,-4.64,5.18,-4.04), (4.74,-2.235,4.9,-0.14), (4.18,-2.025,4.34,-0.045), (4.38,0.59,4.68,0.89)])
R(nor_2in, Metal1_pin, [(4.475,-3.705,4.605,-3.575), (5.065,1.365,5.195,1.495)])
R(nor_2in, Metal2, [(3.4,-1.23,5.105,-1)])
R(nor_2in, Metal2_pin, [(5.415,-2.015,5.545,-1.885), (3.435,-1.195,3.565,-1.065), (5.415,-0.725,5.545,-0.595)])
R(nor_2in, NWell, [(3.48,-0.55,5.56,2.93)])
nor_2in.add(gdstk.FlexPath([(4.54,-2.65),(4.54,-4.04)], 0.18, ends="flush", simple_path=True, layer=8, datatype=0))  # Metal1
nor_2in.add(gdstk.FlexPath([(5.13,0.59),(5.13,2.5)], 0.3, ends="flush", simple_path=True, layer=8, datatype=0))  # Metal1
nor_2in.add(gdstk.FlexPath([(5.12,-2.65),(5.12,-3.35)], 0.25, ends="flush", simple_path=True, layer=10, datatype=0))  # Metal2
nor_2in.add(gdstk.FlexPath([(3.965,-2.65),(3.965,-3.35)], 0.25, ends="flush", simple_path=True, layer=10, datatype=0))  # Metal2
nor_2in.add(gdstk.FlexPath([(3.965,1.29),(3.965,0.59)], 0.25, ends="flush", simple_path=True, layer=10, datatype=0))  # Metal2
nor_2in.add(gdstk.FlexPath([(4.23,-0.65),(5.56,-0.65)], 0.25, ends="flush", simple_path=True, layer=10, datatype=0))  # Metal2
nor_2in.add(gdstk.FlexPath([(4.745,-1.945),(5.56,-1.945)], 0.25, ends="flush", simple_path=True, layer=10, datatype=0))  # Metal2
nor_2in.add(gdstk.FlexPath([(3.965,-3.32),(3.965,1.29)], 0.25, ends="flush", simple_path=True, layer=30, datatype=0))  # Metal3
nor_2in.add(gdstk.FlexPath([(5.105,-3.33),(5.105,-1)], 0.25, ends="flush", simple_path=True, layer=30, datatype=0))  # Metal3
nor_2in.add(gdstk.Reference(via_1_8, (4.82,0.09), rotation=pi, x_reflection=True))
nor_2in.add(gdstk.Reference(via_1_8, (4.82,-2.205), rotation=pi, x_reflection=True))
nor_2in.add(gdstk.Reference(via_1_8, (4.26,-2.205), rotation=pi, x_reflection=True))
nor_2in.add(gdstk.Reference(via_6_3, (4.815,-1.79), rotation=pi, x_reflection=True))
nor_2in.add(gdstk.Reference(ptap1_22, (5.32,-4.73), rotation=pi, x_reflection=True))
nor_2in.add(gdstk.Reference(via_38, (3.965,0.94), rotation=pi, x_reflection=True))
nor_2in.add(gdstk.Reference(nmos_10, (5.26,-2.93), rotation=pi, x_reflection=True))
nor_2in.add(gdstk.Reference(via_6_3, (3.96,0.94), rotation=pi, x_reflection=True))
nor_2in.add(gdstk.Reference(via_38, (3.97,-3), rotation=pi, x_reflection=True))
nor_2in.add(gdstk.Reference(via_38, (5.12,-3), rotation=pi, x_reflection=True))
nor_2in.add(gdstk.Reference(via_6_3, (5.115,-3), rotation=pi, x_reflection=True))
nor_2in.add(gdstk.Reference(via_7_2, (4.575,-1.12), rotation=pi, x_reflection=True))
nor_2in.add(gdstk.Reference(ntap1_8, (3.71,1.81)))
nor_2in.add(gdstk.Reference(via_6_3, (4.25,-0.44), rotation=pi, x_reflection=True))
nor_2in.add(gdstk.Reference(via_1_8, (4.26,0.09), rotation=pi, x_reflection=True))
nor_2in.add(gdstk.Reference(pmos_6, (5.255,0.515), rotation=pi, x_reflection=True))
nor_2in.add(gdstk.Reference(via_6_3, (3.965,-3), rotation=pi, x_reflection=True))
nor_2in.add(gdstk.Label('gd', (4.54,-3.64), layer=8, texttype=25))
nor_2in.add(gdstk.Label('vp', (5.13,1.43), layer=8, texttype=25))
nor_2in.add(gdstk.Label('Out', (3.5,-1.13), layer=10, texttype=25))
nor_2in.add(gdstk.Label('B', (5.48,-0.66), layer=10, texttype=25))
nor_2in.add(gdstk.Label('A', (5.48,-1.95), layer=10, texttype=25))

count_data_check = lib.new_cell('count_data_check')
R(count_data_check, Metal1, [(27.41,-7.58,27.62,-2.67), (16.06,-1.04,16.27,3.87), (27.41,-0.01,27.62,4.9), (27.41,5.5,27.62,10.41), (16.06,6.53,16.27,11.44), (16.06,12.04,16.27,16.95), (27.41,13.07,27.62,17.98), (27.41,18.58,27.62,23.49), (16.06,19.61,16.27,24.52), (16.06,25.12,16.27,30.03), (27.41,26.15,27.62,31.06), (27.41,31.66,27.62,36.57), (16.06,32.69,16.27,37.6), (27.41,39.23,27.62,44.14)])
R(count_data_check, Metal1_pin, [(16.785,-7.975,16.915,-7.845), (15.845,-1.355,15.975,-1.225), (17.735,5.155,17.865,5.285), (16.155,11.655,16.285,11.785), (18.465,18.195,18.595,18.325), (16.255,24.885,16.385,25.015), (18.815,31.345,18.945,31.475), (18.125,37.905,18.255,38.035), (19.535,44.525,19.665,44.655)])
A(count_data_check, Metal2, 11.24, -4.64, 7.44, 0.2, 1, 3, 0, 13.08)
A(count_data_check, Metal2, 27.18, -2.67, 0.6, 0.7, 1, 4, 0, 13.08)
A(count_data_check, Metal2, 10.23, -1.44, 1.22, 0.2, 1, 3, 0, 13.08)
A(count_data_check, Metal2, 27.22, -0.71, 0.6, 0.7, 1, 4, 0, 13.08)
R(count_data_check, Metal2, [(15.63,-5.98,17.68,-5.78), (22.68,-4.54,23.5,-4.34), (23.5,-4.54,27.11,-4.34), (11.05,1.12,18.67,1.325), (22.65,1.66,26.55,1.86), (15.07,3.1,17.12,3.3), (17.12,3.1,19.49,3.3), (15.98,3.87,16.58,4.57), (15.98,5.83,16.58,6.53), (14.51,7.1,16.56,7.3), (16.56,7.1,18.93,7.3), (22.825,8.54,25.99,8.705), (22.87,8.68,25.99,8.74), (11.05,14.195,18.67,14.4), (22.86,14.74,25.43,14.94), (13.95,16.18,16,16.38), (16,16.18,18.37,16.38), (15.98,16.95,16.58,17.65), (15.98,18.91,16.58,19.61), (13.39,20.18,15.44,20.38), (15.44,20.18,17.81,20.38), (22.94,21.62,24.87,21.82), (11.05,27.275,18.67,27.48), (23.01,27.82,24.31,28.02), (12.83,29.26,14.88,29.46), (14.88,29.26,17.25,29.46), (15.98,30.03,16.58,30.73), (15.98,31.99,16.58,32.69), (22.425,33.24,24.87,33.46), (21.8,35.07,24.775,35.29), (24.775,35.07,25.43,35.29), (23.085,35.975,24.32,36.195), (20.97,36.895,21.26,37.115), (21.26,36.895,23.39,37.115), (22.985,39.6,25.99,39.82), (20.94,40.17,21.16,40.42), (21.8,41.43,22.1,41.55), (20.95,41.465,21.16,41.715), (21.8,41.55,22.425,41.77), (22.425,41.55,24.38,41.77), (24.38,41.55,27.11,41.77), (22.425,42.34,26.55,42.56), (20.96,43.26,22.325,43.48)])
R(count_data_check, Metal2_pin, [(11.505,-4.615,11.635,-4.485), (11.495,1.145,11.625,1.275), (11.525,8.465,11.655,8.595), (11.505,14.235,11.635,14.365), (11.485,21.545,11.615,21.675), (11.485,27.315,11.615,27.445), (18.805,41.045,18.935,41.175)])
A(count_data_check, Metal3, 27.42, -2.67, 0.2, 2.66, 1, 4, 0, 13.08)
A(count_data_check, Metal3, 16.38, 3.87, 0.2, 2.66, 1, 3, 0, 13.08)
A(count_data_check, Metal3, 12.83, 28.12, 0.34, 0.2, 6, 1, 0.56, 0)
R(count_data_check, Metal3, [(12.83,-6.69,13.17,28.24), (13.39,-6.69,13.73,28.18), (13.95,-6.69,14.29,28.22), (14.51,-6.69,14.85,28.21), (15.07,-6.69,15.41,28.21), (15.63,-6.69,15.97,28.22), (26.84,-4.79,27.18,42.01), (10.99,-1.435,11.21,1.32), (26.28,1.41,26.62,42.8), (25.72,8.29,26.06,40.06), (10.99,11.64,11.21,14.385), (25.16,14.49,25.5,35.53), (24.6,21.37,24.94,33.7), (10.99,24.73,11.21,27.475), (24.04,27.57,24.38,36.43), (12.83,28.32,13.17,29.46), (20.96,37.59,21.16,39.72), (20.96,42.16,21.16,43.48)])
R(count_data_check, Metal3_pin, [(15.765,-6.625,15.895,-6.495), (12.925,-6.595,13.055,-6.465), (13.535,-6.585,13.665,-6.455), (14.105,-6.575,14.235,-6.445), (14.635,-6.575,14.765,-6.445), (15.185,-6.555,15.315,-6.425)])
count_data_check.add(gdstk.Reference(nand_3in_1, (21.52,0)))
count_data_check.add(gdstk.Reference(ntap1_12, (9.03,30.97)))
count_data_check.add(gdstk.Reference(via_17, (11.1,11.74)))
count_data_check.add(gdstk.Reference(via_17, (11.1,24.82)))
count_data_check.add(gdstk.Reference(via_17, (11.1,14.29)))
count_data_check.add(gdstk.Reference(via_17, (11.1,-1.34)))
count_data_check.add(gdstk.Reference(via_17, (11.1,1.22)))
count_data_check.add(gdstk.Reference(xnor, (15.69,5.97), x_reflection=True))
count_data_check.add(gdstk.Reference(xnor, (15.69,17.51)))
count_data_check.add(gdstk.Reference(xnor, (15.69,-7.11), x_reflection=True))
count_data_check.add(gdstk.Reference(via_17, (13,29.11), rotation=3*pi/2))
count_data_check.add(gdstk.Reference(via_17, (14.12,16.03), rotation=3*pi/2))
count_data_check.add(gdstk.Reference(via_17, (13.56,20.03), rotation=3*pi/2))
count_data_check.add(gdstk.Reference(via_17, (14.68,6.95), rotation=3*pi/2))
count_data_check.add(gdstk.Reference(via_17, (15.24,2.95), rotation=3*pi/2))
count_data_check.add(gdstk.Reference(via_17, (15.8,-6.13), rotation=3*pi/2))
count_data_check.add(gdstk.Reference(via_16, (18.73,21.6), rotation=3*pi/2))
count_data_check.add(gdstk.Reference(via_16, (18.725,8.51), rotation=3*pi/2))
count_data_check.add(gdstk.Reference(via_16, (18.73,-4.62), rotation=3*pi/2))
count_data_check.add(gdstk.Reference(ntap1_12, (10.05,30.97)))
count_data_check.add(gdstk.Reference(ntap1_12, (10.05,17.89)))
count_data_check.add(gdstk.Reference(ntap1_12, (10.05,4.81)))
count_data_check.add(gdstk.Reference(ntap1_12, (10.05,-8.27)))
count_data_check.add(gdstk.Reference(ptap1_20, (11.08,24.43)))
count_data_check.add(gdstk.Reference(xnor, (15.69,19.05), x_reflection=True))
count_data_check.add(gdstk.Reference(xnor, (15.69,30.59)))
count_data_check.add(gdstk.Reference(nand_3in_1, (21.52,75.8), x_reflection=True))
count_data_check.add(gdstk.Reference(xnor, (15.69,4.43)))
count_data_check.add(gdstk.Reference(via_36, (24.21,27.92)))
count_data_check.add(gdstk.Reference(ptap1_20, (11.08,11.35)))
count_data_check.add(gdstk.Reference(ptap1_20, (11.08,-1.73)))
count_data_check.add(gdstk.Reference(via_36, (24.77,21.72)))
count_data_check.add(gdstk.Reference(via_36, (25.33,14.84)))
count_data_check.add(gdstk.Reference(via_36, (25.89,8.64)))
count_data_check.add(gdstk.Reference(via_36, (26.45,1.76)))
count_data_check.add(gdstk.Reference(via_36, (27.01,-4.44)))
count_data_check.add(gdstk.Reference(ptap1_20, (15.5,37.51)))
count_data_check.add(gdstk.Reference(via_17, (21.06,40.07), rotation=3*pi/2))
count_data_check.add(gdstk.Reference(via_17, (21.06,41.81), rotation=3*pi/2))
count_data_check.add(gdstk.Reference(via_17, (21.06,43.13), rotation=3*pi/2))
count_data_check.add(gdstk.Reference(via_17, (21.06,37.24), rotation=3*pi/2))
count_data_check.add(gdstk.Reference(via_36, (26.45,42.45)))
count_data_check.add(gdstk.Reference(via_36, (25.89,39.71)))
count_data_check.add(gdstk.Reference(via_36, (24.22,36.08)))
count_data_check.add(gdstk.Reference(via_36, (25.33,35.18)))
count_data_check.add(gdstk.Reference(via_36, (24.77,33.35)))
count_data_check.add(gdstk.Reference(ntap1_12, (16.51,44.05)))
count_data_check.add(gdstk.Reference(via_36, (27.01,-4.44)))
count_data_check.add(gdstk.Reference(via_17, (11.1,27.38)))
count_data_check.add(gdstk.Reference(via_36, (27.01,41.66)))
count_data_check.add(gdstk.Reference(ntap1_12, (10.05,44.05)))
count_data_check.add(gdstk.Reference(via_22, (16.165,32.34)))
count_data_check.add(gdstk.Reference(via_36, (16.48,32.34)))
count_data_check.add(gdstk.Reference(via_36, (16.48,30.38)))
count_data_check.add(gdstk.Reference(via_22, (16.165,30.38)))
count_data_check.add(gdstk.Reference(via_22, (16.165,19.26)))
count_data_check.add(gdstk.Reference(via_36, (27.52,-2.32), rotation=pi, x_reflection=True))
count_data_check.add(gdstk.Reference(ntap1_12, (20.25,44.05)))
count_data_check.add(gdstk.Reference(ntap1_12, (20.25,30.97)))
count_data_check.add(gdstk.Reference(ntap1_12, (20.25,17.89)))
count_data_check.add(gdstk.Reference(ntap1_12, (20.25,4.81)))
count_data_check.add(gdstk.Reference(ntap1_12, (20.25,-8.27)))
count_data_check.add(gdstk.Reference(via_22, (27.515,-2.32), rotation=pi, x_reflection=True))
count_data_check.add(gdstk.Reference(via_36, (27.52,-0.36), rotation=pi, x_reflection=True))
count_data_check.add(gdstk.Reference(via_22, (27.515,-0.36), rotation=pi, x_reflection=True))
count_data_check.add(gdstk.Reference(via_36, (27.52,10.76), rotation=pi, x_reflection=True))
count_data_check.add(gdstk.Reference(via_22, (27.515,10.76), rotation=pi, x_reflection=True))
count_data_check.add(gdstk.Reference(via_36, (27.52,12.72), rotation=pi, x_reflection=True))
count_data_check.add(gdstk.Reference(via_22, (27.515,12.72), rotation=pi, x_reflection=True))
count_data_check.add(gdstk.Reference(via_36, (27.52,23.84), rotation=pi, x_reflection=True))
count_data_check.add(gdstk.Reference(via_22, (27.515,23.84), rotation=pi, x_reflection=True))
count_data_check.add(gdstk.Reference(via_36, (27.52,25.8), rotation=pi, x_reflection=True))
count_data_check.add(gdstk.Reference(nor_2in, (15.39,42.24)))
count_data_check.add(gdstk.Reference(via_22, (27.515,25.8), rotation=pi, x_reflection=True))
count_data_check.add(gdstk.Reference(via_36, (27.52,36.92), rotation=pi, x_reflection=True))
count_data_check.add(gdstk.Reference(via_22, (27.515,36.92), rotation=pi, x_reflection=True))
count_data_check.add(gdstk.Reference(via_36, (27.52,38.88), rotation=pi, x_reflection=True))
count_data_check.add(gdstk.Reference(via_22, (27.515,38.88), rotation=pi, x_reflection=True))
count_data_check.add(gdstk.Reference(via_36, (16.48,19.26)))
count_data_check.add(gdstk.Reference(via_36, (16.48,17.3)))
count_data_check.add(gdstk.Reference(via_22, (16.165,17.3)))
count_data_check.add(gdstk.Reference(via_22, (16.165,4.22)))
count_data_check.add(gdstk.Reference(via_36, (16.48,4.22)))
count_data_check.add(gdstk.Reference(via_36, (16.48,6.18)))
count_data_check.add(gdstk.Reference(via_22, (16.165,6.18)))
count_data_check.add(gdstk.Label('VP', (19.6,44.59), layer=8, texttype=25))
count_data_check.add(gdstk.Label('VP', (18.88,31.41), layer=8, texttype=25))
count_data_check.add(gdstk.Label('VP', (18.53,18.26), layer=8, texttype=25))
count_data_check.add(gdstk.Label('VP', (17.8,5.22), layer=8, texttype=25))
count_data_check.add(gdstk.Label('VP', (16.85,-7.91), layer=8, texttype=25))
count_data_check.add(gdstk.Label('GND', (15.91,-1.29), layer=8, texttype=25))
count_data_check.add(gdstk.Label('GND', (16.22,11.72), layer=8, texttype=25))
count_data_check.add(gdstk.Label('GND', (16.32,24.95), layer=8, texttype=25))
count_data_check.add(gdstk.Label('GND', (18.19,37.97), layer=8, texttype=25))
count_data_check.add(gdstk.Label('c0', (11.55,27.38), layer=10, texttype=25))
count_data_check.add(gdstk.Label('c1', (11.55,21.61), layer=10, texttype=25))
count_data_check.add(gdstk.Label('c2', (11.57,14.3), layer=10, texttype=25))
count_data_check.add(gdstk.Label('c3', (11.59,8.53), layer=10, texttype=25))
count_data_check.add(gdstk.Label('c4', (11.56,1.21), layer=10, texttype=25))
count_data_check.add(gdstk.Label('c5', (11.57,-4.55), layer=10, texttype=25))
count_data_check.add(gdstk.Label('out', (18.87,41.11), layer=10, texttype=25))
count_data_check.add(gdstk.Label('d0', (12.99,-6.53), layer=30, texttype=25))
count_data_check.add(gdstk.Label('d1', (13.6,-6.52), layer=30, texttype=25))
count_data_check.add(gdstk.Label('d2', (14.17,-6.51), layer=30, texttype=25))
count_data_check.add(gdstk.Label('d3', (14.7,-6.51), layer=30, texttype=25))
count_data_check.add(gdstk.Label('d4', (15.25,-6.49), layer=30, texttype=25))
count_data_check.add(gdstk.Label('d5', (15.83,-6.56), layer=30, texttype=25))

lib.write_gds('count_data_check.gds')
